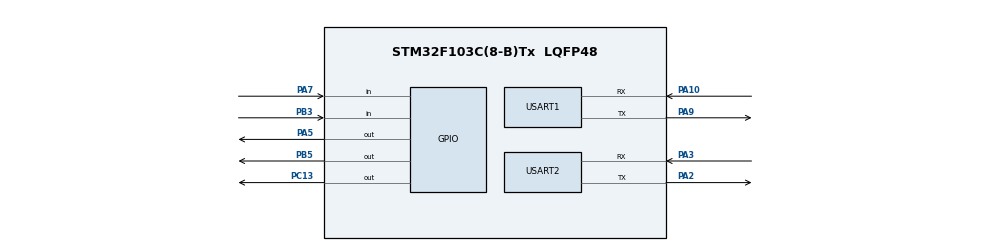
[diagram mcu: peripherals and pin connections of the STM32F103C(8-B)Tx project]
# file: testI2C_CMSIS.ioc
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Mcu.Family=STM32F1
Mcu.Name=STM32F103C(8-B)Tx
Mcu.Package=LQFP48
NVIC.PriorityGroup=NVIC_PRIORITYGROUP_4
PA10.Mode=Asynchronous
PA10.Signal=USART1_RX
PA13.Mode=Serial_Wire
PA13.Signal=SYS_JTMS-SWDIO
PA14.Mode=Serial_Wire
PA14.Signal=SYS_JTCK-SWCLK
PA2.Mode=Asynchronous
PA2.Signal=USART2_TX
PA3.Mode=Asynchronous
PA3.Signal=USART2_RX
PA5.Signal=GPIO_Output
PA7.Signal=GPIO_Input
PA9.Mode=Asynchronous
PA9.Signal=USART1_TX
PB3.GPIO_PuPd=GPIO_NOPULL
PB3.Signal=GPIO_Input
PB5.Signal=GPIO_Output
PC13-TAMPER-RTC.PinState=GPIO_PIN_RESET
PC13-TAMPER-RTC.Signal=GPIO_Output
PD0-OSC_IN.Mode=HSE-External-Oscillator
PD0-OSC_IN.Signal=RCC_OSC_IN
PD1-OSC_OUT.Mode=HSE-External-Oscillator
PD1-OSC_OUT.Signal=RCC_OSC_OUT
ProjectManager.HeapSize=0x200
ProjectManager.StackSize=0x400
ProjectManager.TargetToolchain=STM32CubeIDE
RCC.AHBFreq_Value=60000000
RCC.APB1CLKDivider=RCC_HCLK_DIV2
RCC.APB1Freq_Value=30000000
RCC.APB1TimFreq_Value=60000000
RCC.APB2Freq_Value=60000000
RCC.APB2TimFreq_Value=60000000
RCC.HCLKFreq_Value=60000000
RCC.HSEDivPLL=RCC_HSE_PREDIV_DIV2
RCC.PLLMUL=RCC_PLL_MUL15
RCC.PLLSourceVirtual=RCC_PLLSOURCE_HSE
RCC.SYSCLKFreq_VALUE=60000000
RCC.SYSCLKSource=RCC_SYSCLKSOURCE_PLLCLK
RCC.USBFreq_Value=60000000
USART1.VirtualMode=VM_ASYNC
USART2.VirtualMode=VM_ASYNC
board=custom

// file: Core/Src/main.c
/* USER CODE BEGIN Header */
/**
 ******************************************************************************
 * @file           : main.c
 * @brief          : Main program body
 ******************************************************************************
 * @attention
 *
 * Copyright (c) 2024 STMicroelectronics.
 * All rights reserved.
 *
 * This software is licensed under terms that can be found in the LICENSE file
 * in the root directory of this software component.
 * If no LICENSE file comes with this software, it is provided AS-IS.
 *
 ******************************************************************************
 */
/* USER CODE END Header */
#include "main.h"

/* USER CODE BEGIN Includes */

#include "stm32f1xx_it.h"
#include "myuart.h"
#include "i2c.h"

/* USER CODE END Includes */

void SystemClock_Config(void);
static void MX_GPIO_Init(void);
static void MX_USART1_UART_Init(void);
static void MX_USART2_UART_Init(void);
/* USER CODE BEGIN PFP */
void i2c_flag(void);
/* USER CODE END PFP */

int main(void)
{

  /* MCU Configuration--------------------------------------------------------*/

  /* Reset of all peripherals, Initializes the Flash interface and the Systick. */
  LL_APB2_GRP1_EnableClock(LL_APB2_GRP1_PERIPH_AFIO);
  LL_APB1_GRP1_EnableClock(LL_APB1_GRP1_PERIPH_PWR);

  /* System interrupt init*/
  NVIC_SetPriorityGrouping(NVIC_PRIORITYGROUP_4);

  /* SysTick_IRQn interrupt configuration */
  NVIC_SetPriority(SysTick_IRQn, NVIC_EncodePriority(NVIC_GetPriorityGrouping(),15, 0));

  /** NOJTAG: JTAG-DP Disabled and SW-DP Enabled
  */
  LL_GPIO_AF_Remap_SWJ_NOJTAG();

  /* Configure the system clock */
  SystemClock_Config();

  /* Initialize all configured peripherals */
  MX_GPIO_Init();
  MX_USART1_UART_Init();
  MX_USART2_UART_Init();
  /* USER CODE BEGIN 2 */
  i2c_I2C1_GPIO_config();
  i2c_I2C1_config();

  LL_GPIO_ResetOutputPin(GPIOC, LL_GPIO_PIN_13);

  //  NVIC_EnableIRQ(I2C1_EV_IRQn); // Kích hoạt ngắt sự kiện I2C1
  //  NVIC_EnableIRQ(I2C1_ER_IRQn); // Kích hoạt ngắt lỗi I2C1

//  int count = 0;
  uint8_t data1[255] = {0}; //{0x70, 0x80, 0x81, 0x82, 0x94, 0x95, 0x96, 0x97};
  uint8_t rx_data[256] = {0};
  uint8_t data2[20]={0x01,0x02,0x03,0x04,0x05,0x06,0x07,0x08,0x09,0x10,0x11,0x12,0x13};
//  uint8_t data3[20]="Hello World @$";
//  uint8_t date[2]={0x04,0x06};
  data1[0] = 0x10;
  for (int i = 1; i < 256; i++)
    data1[i] = data1[i - 1] + 1;

  uart_printf("master-f103c8t6\r\n");

  LL_mDelay(3000);

  /* USER CODE END 2 */

  /* Infinite loop */
  while (1)
  {

    /* USER CODE BEGIN 3 */

    //    if (i2c_I2C1_masterTransmit(0x54, data1, count, 1000)) //Check i2c_slave receive wrong address
    //    {
    //    }
//	DS3231_Read(0x06);

//	while(LL_GPIO_IsInputPinSet(GPIOB, LL_GPIO_PIN_3));//Reset PA3 to trigger
	LL_mDelay(2000);
//    if (LL_GPIO_IsInputPinSet(GPIOA, LL_GPIO_PIN_6))
//    {
////    	DS3231_Read(0x68, rx_data,0x05, 1, 10000);
////    	uart_printf("data=0x%02X\r\n",rx_data[0]);

//      if (i2c_I2C1_masterTransmit(0x50, data2, 13, 1000)) // Check i2c_slave receive data without error
      if(Write_eeprom(0x50, 0x00, data2, 16, 13, 10000))
      {
             LL_GPIO_TogglePin(GPIOC, LL_GPIO_PIN_13);
             uart_printf("trans ok\r\n");
           }
           else
           {
             uart_printf("trans fail !!!\r\n");
           }
           i2c_flag();
////    }
////    if (LL_GPIO_IsInputPinSet(GPIOA, LL_GPIO_PIN_7))
////    {
//      	  LL_mDelay(3000);
//		uart_printf("start read ds3231\r\n");
//		DS3231_Read(0x68, rx_data,0x10, 13, 10000);
//		uart_printf("pass read ds3231\r\n");
//		for (int j = 0; j < 13; j++)
//		{
//			uart_printf("rx_data%d=0x%02X\r\n", j, rx_data[j]);
//		}
//		i2c_flag();
////		uart_printf("0x%02X=0x%02X\r\n",count,rx_data[0]);
////      uart_printf("count=%d\r\n", count);

      LL_mDelay(2000);
	uart_printf("start \r\n");
//      if (i2c_I2C1_masterReceive(0x50, rx_data, 13, 10000)) // Check i2c_slave send data
	if(Read_eeprom(0x50, rx_data, 0x00, 16,13, 1000))
	//    if(I2C_ReadEEPROM(0x50, 0x00, rx_data, 255, 1000))
	{
	for (int j = 0; j < 13; j++)
	{
	  uart_printf("rx_data%d=0x%02X\r\n", j, rx_data[j]);
	}
	LL_GPIO_TogglePin(GPIOC, LL_GPIO_PIN_13);
	}
//	DS3231_Read_custom(0x68, rx_data, 0x04, 1, 1000);
//	uart_printf("rx_data%d=0x%02X\r\n", 0, rx_data[0]);
      i2c_flag();

//      ++count;
//    }

//    LL_mDelay(3000);
  }
  /* USER CODE END 3 */
}

void SystemClock_Config(void)
{
  LL_FLASH_SetLatency(LL_FLASH_LATENCY_2);
  while(LL_FLASH_GetLatency()!= LL_FLASH_LATENCY_2)
  {
  }
  LL_RCC_HSE_Enable();

   /* Wait till HSE is ready */
  while(LL_RCC_HSE_IsReady() != 1)
  {

  }
  LL_RCC_PLL_ConfigDomain_SYS(LL_RCC_PLLSOURCE_HSE_DIV_1, LL_RCC_PLL_MUL_9);
  LL_RCC_PLL_Enable();

   /* Wait till PLL is ready */
  while(LL_RCC_PLL_IsReady() != 1)
  {

  }
  LL_RCC_SetAHBPrescaler(LL_RCC_SYSCLK_DIV_1);
  LL_RCC_SetAPB1Prescaler(LL_RCC_APB1_DIV_2);
  LL_RCC_SetAPB2Prescaler(LL_RCC_APB2_DIV_1);
  LL_RCC_SetSysClkSource(LL_RCC_SYS_CLKSOURCE_PLL);

   /* Wait till System clock is ready */
  while(LL_RCC_GetSysClkSource() != LL_RCC_SYS_CLKSOURCE_STATUS_PLL)
  {

  }
  LL_Init1msTick(72000000);
  LL_SetSystemCoreClock(72000000);
}

static void MX_USART1_UART_Init(void)
{

  LL_USART_InitTypeDef USART_InitStruct = {0};

  LL_GPIO_InitTypeDef GPIO_InitStruct = {0};

  /* Peripheral clock enable */
  LL_APB2_GRP1_EnableClock(LL_APB2_GRP1_PERIPH_USART1);

  LL_APB2_GRP1_EnableClock(LL_APB2_GRP1_PERIPH_GPIOA);
  /**USART1 GPIO Configuration
  PA9   ------> USART1_TX
  PA10   ------> USART1_RX
  */
  GPIO_InitStruct.Pin = LL_GPIO_PIN_9;
  GPIO_InitStruct.Mode = LL_GPIO_MODE_ALTERNATE;
  GPIO_InitStruct.Speed = LL_GPIO_SPEED_FREQ_HIGH;
  GPIO_InitStruct.OutputType = LL_GPIO_OUTPUT_PUSHPULL;
  LL_GPIO_Init(GPIOA, &GPIO_InitStruct);

  GPIO_InitStruct.Pin = LL_GPIO_PIN_10;
  GPIO_InitStruct.Mode = LL_GPIO_MODE_FLOATING;
  LL_GPIO_Init(GPIOA, &GPIO_InitStruct);

  USART_InitStruct.BaudRate = 115200;
  USART_InitStruct.DataWidth = LL_USART_DATAWIDTH_8B;
  USART_InitStruct.StopBits = LL_USART_STOPBITS_1;
  USART_InitStruct.Parity = LL_USART_PARITY_NONE;
  USART_InitStruct.TransferDirection = LL_USART_DIRECTION_TX_RX;
  USART_InitStruct.HardwareFlowControl = LL_USART_HWCONTROL_NONE;
  USART_InitStruct.OverSampling = LL_USART_OVERSAMPLING_16;
  LL_USART_Init(USART1, &USART_InitStruct);
  LL_USART_ConfigAsyncMode(USART1);
  LL_USART_Enable(USART1);

}

static void MX_USART2_UART_Init(void)
{

  LL_USART_InitTypeDef USART_InitStruct = {0};

  LL_GPIO_InitTypeDef GPIO_InitStruct = {0};

  /* Peripheral clock enable */
  LL_APB1_GRP1_EnableClock(LL_APB1_GRP1_PERIPH_USART2);

  LL_APB2_GRP1_EnableClock(LL_APB2_GRP1_PERIPH_GPIOA);
  /**USART2 GPIO Configuration
  PA2   ------> USART2_TX
  PA3   ------> USART2_RX
  */
  GPIO_InitStruct.Pin = LL_GPIO_PIN_2;
  GPIO_InitStruct.Mode = LL_GPIO_MODE_ALTERNATE;
  GPIO_InitStruct.Speed = LL_GPIO_SPEED_FREQ_HIGH;
  GPIO_InitStruct.OutputType = LL_GPIO_OUTPUT_PUSHPULL;
  LL_GPIO_Init(GPIOA, &GPIO_InitStruct);

  GPIO_InitStruct.Pin = LL_GPIO_PIN_3;
  GPIO_InitStruct.Mode = LL_GPIO_MODE_FLOATING;
  LL_GPIO_Init(GPIOA, &GPIO_InitStruct);

  USART_InitStruct.BaudRate = 115200;
  USART_InitStruct.DataWidth = LL_USART_DATAWIDTH_8B;
  USART_InitStruct.StopBits = LL_USART_STOPBITS_1;
  USART_InitStruct.Parity = LL_USART_PARITY_NONE;
  USART_InitStruct.TransferDirection = LL_USART_DIRECTION_TX_RX;
  USART_InitStruct.HardwareFlowControl = LL_USART_HWCONTROL_NONE;
  USART_InitStruct.OverSampling = LL_USART_OVERSAMPLING_16;
  LL_USART_Init(USART2, &USART_InitStruct);
  LL_USART_ConfigAsyncMode(USART2);
  LL_USART_Enable(USART2);

}

static void MX_GPIO_Init(void)
{
  LL_GPIO_InitTypeDef GPIO_InitStruct = {0};

  /* GPIO Ports Clock Enable */
  LL_APB2_GRP1_EnableClock(LL_APB2_GRP1_PERIPH_GPIOC);
  LL_APB2_GRP1_EnableClock(LL_APB2_GRP1_PERIPH_GPIOD);
  LL_APB2_GRP1_EnableClock(LL_APB2_GRP1_PERIPH_GPIOA);
  LL_APB2_GRP1_EnableClock(LL_APB2_GRP1_PERIPH_GPIOB);

  /**/
  LL_GPIO_ResetOutputPin(GPIOC, LL_GPIO_PIN_13);

  /**/
  LL_GPIO_ResetOutputPin(GPIOA, LL_GPIO_PIN_5);

  /**/
  LL_GPIO_ResetOutputPin(GPIOB, LL_GPIO_PIN_5);

  /**/
  GPIO_InitStruct.Pin = LL_GPIO_PIN_13;
  GPIO_InitStruct.Mode = LL_GPIO_MODE_OUTPUT;
  GPIO_InitStruct.Speed = LL_GPIO_SPEED_FREQ_LOW;
  GPIO_InitStruct.OutputType = LL_GPIO_OUTPUT_PUSHPULL;
  LL_GPIO_Init(GPIOC, &GPIO_InitStruct);

  /**/
  GPIO_InitStruct.Pin = LL_GPIO_PIN_5;
  GPIO_InitStruct.Mode = LL_GPIO_MODE_OUTPUT;
  GPIO_InitStruct.Speed = LL_GPIO_SPEED_FREQ_LOW;
  GPIO_InitStruct.OutputType = LL_GPIO_OUTPUT_PUSHPULL;
  LL_GPIO_Init(GPIOA, &GPIO_InitStruct);

  /**/
  GPIO_InitStruct.Pin = LL_GPIO_PIN_6|LL_GPIO_PIN_7;
  GPIO_InitStruct.Mode = LL_GPIO_MODE_FLOATING;
  LL_GPIO_Init(GPIOA, &GPIO_InitStruct);

  /**/
  GPIO_InitStruct.Pin = LL_GPIO_PIN_5;
  GPIO_InitStruct.Mode = LL_GPIO_MODE_OUTPUT;
  GPIO_InitStruct.Speed = LL_GPIO_SPEED_FREQ_LOW;
  GPIO_InitStruct.OutputType = LL_GPIO_OUTPUT_PUSHPULL;
  LL_GPIO_Init(GPIOB, &GPIO_InitStruct);

}

/* USER CODE BEGIN 4 */

uint8_t Address_slave;
uint8_t reg_slave;
uint8_t *tx_data;
uint8_t tx_len;
uint8_t tx_index = 0;

// void I2C1_EV_IRQHandler(void)
//{
//
//   // Kiểm tra c�? SB (Start Bit) được set
//   if (I2C1->SR1 & I2C_SR1_SB)
//   {
//     // Gửi địa chỉ thiết bị với bit ghi (0)
//     I2C1->DR = Address_slave;
//   }
//
//   // Kiểm tra c�? ADDR (Address Sent)
//   else if (I2C1->SR1 & I2C_SR1_ADDR)
//   {
//     // �?�?c SR1 và SR2 để xóa c�? ADDR
//     (void)I2C1->SR1;
//     (void)I2C1->SR2;
//
//     // Gửi địa chỉ thanh ghi đầu tiên
//     I2C1->DR = reg_slave;
//   }
//
//   // Kiểm tra c�? TXE (Transmit Data Register Empty)
//   else if (I2C1->SR1 & I2C_SR1_TXE)
//   {
//
//     if (tx_index < tx_len)
//     {
//       // Gửi byte dữ liệu tiếp theo
//       I2C1->DR = tx_data[tx_index++];
//     }
//     else
//     {
//       // Tạo đi�?u kiện Stop khi gửi xong
//       I2C1->CR1 |= I2C_CR1_STOP;
//       LL_GPIO_SetOutputPin(GPIOB, LL_GPIO_PIN_5);
//       // Tắt các ngắt để tránh kích hoạt ngắt không cần thiết
//       I2C1->CR2 &= ~(I2C_CR2_ITBUFEN | I2C_CR2_ITEVTEN | I2C_CR2_ITERREN);
//     }
//   }
// }

void i2c_flag(void)
{
  uart_printf("berr=%d\r\n", I2C1->SR1 >> 8 & 1);
  uart_printf("arlo=%d\r\n", I2C1->SR1 >> 9 & 1);
  uart_printf("af=%d\r\n", I2C1->SR1 >> 10 & 1);
  uart_printf("sr1=0x%04X\r\n", I2C1->SR1);
  uart_printf("sr2=0x%04X\r\n", I2C1->SR2);
  uart_printf("cr1=0x%004X\r\n", I2C1->CR1);
  uart_printf("cr2=0x%04X\r\n\r\n", I2C1->CR2);
}
/* USER CODE END 4 */

void Error_Handler(void)
{
  __disable_irq();
  while (1)
  {
  }
}
